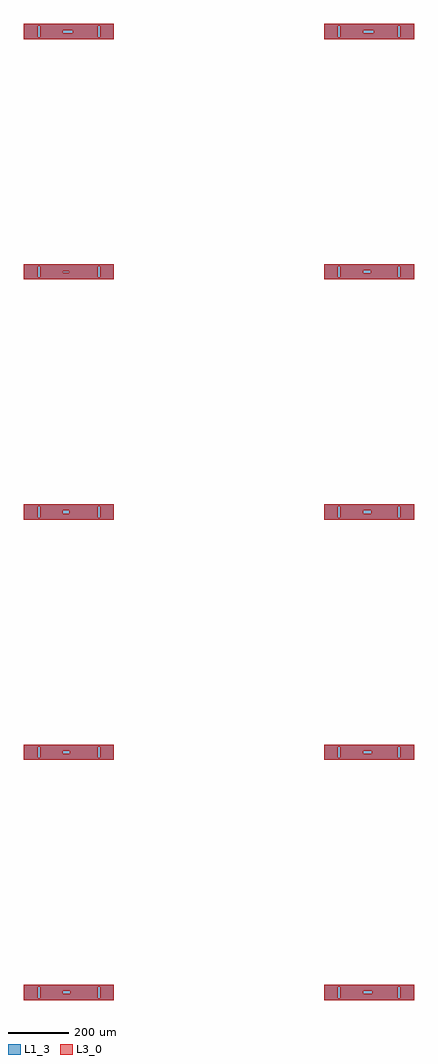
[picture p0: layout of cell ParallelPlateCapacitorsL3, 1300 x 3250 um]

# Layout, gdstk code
import gdstk
lib = gdstk.Library(unit=1e-6, precision=1e-09)
def R(c, l, rs):  # rectangles x0, y0, x1, y1
    for r in rs: c.add(gdstk.rectangle(r[:2], r[2:], *l))
def P(c, l, *ps):  # polygons
    for p in ps: c.add(gdstk.Polygon(p, *l))
L1_3 = (1, 3)
L3_0 = (3, 0)

c_5ffppcl3 = lib.new_cell('5fFPPCL3')
R(c_5ffppcl3, L1_3, [(-150,-25,150,25), (-110,-20,-90,20), (90,-20,110,20)])
P(c_5ffppcl3, L3_0, [(-150,-25),(-150,25),(150,25),(150,19),(-104,19),(-104,-19),(-96,-19),(-96,19),(96,19),(96,5),(-20,5),(-20,-5),(1.5,-5),(1.5,5),(96,5),(96,-19),(104,-19),(104,19),(150,19),(150,-25)])

c_10ffppcl3 = lib.new_cell('10fFPPCL3')
R(c_10ffppcl3, L1_3, [(-150,-25,150,25), (-110,-20,-90,20), (90,-20,110,20)])
P(c_10ffppcl3, L3_0, [(-150,-25),(-150,25),(150,25),(150,19),(-104,19),(-104,-19),(-96,-19),(-96,19),(96,19),(96,5),(-20,5),(-20,-5),(3,-5),(3,5),(96,5),(96,-19),(104,-19),(104,19),(150,19),(150,-25)])

c_15ffppcl3 = lib.new_cell('15fFPPCL3')
R(c_15ffppcl3, L1_3, [(-150,-25,150,25), (-110,-20,-90,20), (90,-20,110,20)])
P(c_15ffppcl3, L3_0, [(-150,-25),(-150,25),(150,25),(150,19),(-104,19),(-104,-19),(-96,-19),(-96,19),(96,19),(96,5),(-20,5),(-20,-5),(5,-5),(5,5),(96,5),(96,-19),(104,-19),(104,19),(150,19),(150,-25)])

c_20ffppcl3 = lib.new_cell('20fFPPCL3')
R(c_20ffppcl3, L1_3, [(-150,-25,150,25), (-110,-20,-90,20), (90,-20,110,20)])
P(c_20ffppcl3, L3_0, [(-150,-25),(-150,25),(150,25),(150,19),(-104,19),(-104,-19),(-96,-19),(-96,19),(96,19),(96,5),(-20,5),(-20,-5),(6,-5),(6,5),(96,5),(96,-19),(104,-19),(104,19),(150,19),(150,-25)])

c_25ffppcl3 = lib.new_cell('25fFPPCL3')
R(c_25ffppcl3, L1_3, [(-150,-25,150,25), (-110,-20,-90,20), (90,-20,110,20)])
P(c_25ffppcl3, L3_0, [(-150,-25),(-150,25),(150,25),(150,19),(-104,19),(-104,-19),(-96,-19),(-96,19),(96,19),(96,5),(-20,5),(-20,-5),(7,-5),(7,5),(96,5),(96,-19),(104,-19),(104,19),(150,19),(150,-25)])

c_30ffppcl3 = lib.new_cell('30fFPPCL3')
R(c_30ffppcl3, L1_3, [(-150,-25,150,25), (-110,-20,-90,20), (90,-20,110,20)])
P(c_30ffppcl3, L3_0, [(-150,-25),(-150,25),(150,25),(150,19),(-104,19),(-104,-19),(-96,-19),(-96,19),(96,19),(96,5),(-20,5),(-20,-5),(9,-5),(9,5),(96,5),(96,-19),(104,-19),(104,19),(150,19),(150,-25)])

c_35ffppcl3 = lib.new_cell('35fFPPCL3')
R(c_35ffppcl3, L1_3, [(-150,-25,150,25)])
P(c_35ffppcl3, L3_0, [(-150,-25),(-150,25),(150,25),(150,19),(-104,19),(-104,-19),(-96,-19),(-96,19),(96,19),(96,5),(-20,5),(-20,-5),(10,-5),(10,5),(96,5),(96,-19),(104,-19),(104,19),(150,19),(150,-25)])

c_2ffppcl3 = lib.new_cell('2fFPPCL3')
R(c_2ffppcl3, L1_3, [(-150,-25,150,25), (-110,-20,-90,20), (90,-20,110,20)])
P(c_2ffppcl3, L3_0, [(-150,-25),(-150,25),(150,25),(150,19),(-104,19),(-104,-19),(-96,-19),(-96,19),(96,19),(96,2.5),(-20,2.5),(-20,-2.5),(1,-2.5),(1,2.5),(96,2.5),(96,-19),(104,-19),(104,19),(150,19),(150,-25)])

c_45ffppcl3 = lib.new_cell('45fFPPCL3')
R(c_45ffppcl3, L1_3, [(-150,-25,150,25)])
P(c_45ffppcl3, L3_0, [(-150,-25),(-150,25),(150,25),(150,19),(-104,19),(-104,-19),(-96,-19),(-96,19),(96,19),(96,5),(-20,5),(-20,-5),(13,-5),(13,5),(96,5),(96,-19),(104,-19),(104,19),(150,19),(150,-25)])

c_55ffppcl3 = lib.new_cell('55fFPPCL3')
R(c_55ffppcl3, L1_3, [(-150,-25,150,25)])
P(c_55ffppcl3, L3_0, [(-150,-25),(-150,25),(150,25),(150,19),(-104,19),(-104,-19),(-96,-19),(-96,19),(96,19),(96,5),(-20,5),(-20,-5),(16,-5),(16,5),(96,5),(96,-19),(104,-19),(104,19),(150,19),(150,-25)])

parallelplatecapacitorsl = lib.new_cell('ParallelPlateCapacitorsL3')
parallelplatecapacitorsl.add(gdstk.Reference(c_5ffppcl3, (-500,0)))
parallelplatecapacitorsl.add(gdstk.Reference(c_10ffppcl3, (-500,-800)))
parallelplatecapacitorsl.add(gdstk.Reference(c_15ffppcl3, (-500,-1600)))
parallelplatecapacitorsl.add(gdstk.Reference(c_20ffppcl3, (500,800)))
parallelplatecapacitorsl.add(gdstk.Reference(c_25ffppcl3, (500,0)))
parallelplatecapacitorsl.add(gdstk.Reference(c_30ffppcl3, (500,-800)))
parallelplatecapacitorsl.add(gdstk.Reference(c_35ffppcl3, (500,-1600)))
parallelplatecapacitorsl.add(gdstk.Reference(c_2ffppcl3, (-500,800)))
parallelplatecapacitorsl.add(gdstk.Reference(c_45ffppcl3, (-500,1600)))
parallelplatecapacitorsl.add(gdstk.Reference(c_55ffppcl3, (500,1600)))

lib.write_gds('ParallelPlateCapacitorsL3.gds')
